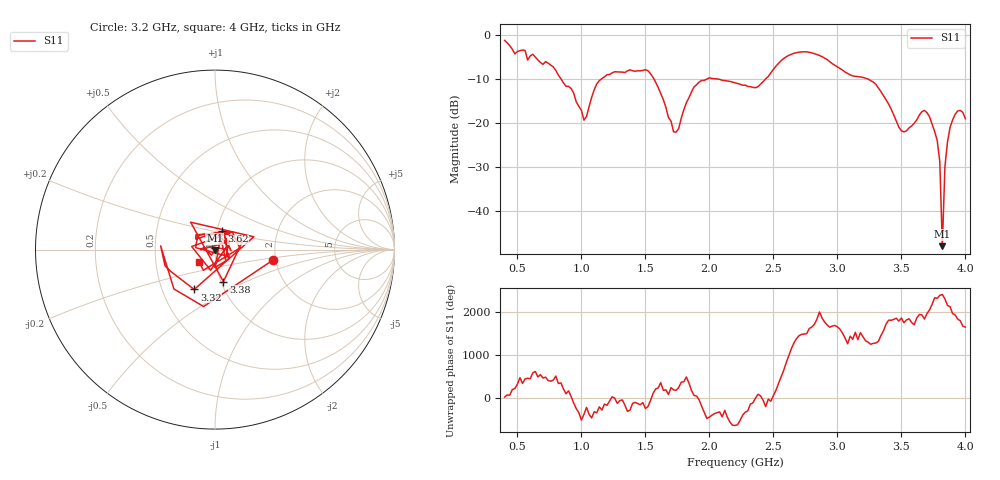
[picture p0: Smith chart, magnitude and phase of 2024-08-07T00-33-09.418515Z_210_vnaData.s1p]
!Created with skrf (http://scikit-rf.org).
# Hz S RI R 50.0
!freq ReS11 ImS11
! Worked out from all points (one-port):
!   181 points, 400 MHz to 4 GHz, reference 50 ohm
!   lowest |S11| = -48.1 dB at 3.82 GHz (marker M1), VSWR 1.01, Z = 49.9 - j0.382 ohm
!   |S11| at or under -10 dB: 1.567 GHz to 1.979 GHz (412 MHz wide, 23.2 % of centre); 2.068 GHz to 2.439 GHz (370.2 MHz wide, 16.4 % of centre); 3.241 GHz to end of sweep (the widest 3 of 4)
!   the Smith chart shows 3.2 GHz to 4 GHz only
!   S11 on the Smith chart (normalised r, x): 3.2 GHz: 1.94, -0.25; 3.32 GHz: 0.72, -0.34; 3.38 GHz: 1.03, -0.38; 3.62 GHz: 1.05, +0.22; 4 GHz: 0.83, -0.11
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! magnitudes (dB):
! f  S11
! 400 MHz  -1.2
! 740 MHz  -6.4
! 860 MHz  -10.9
! 1.02 GHz  -19.4
! 1.12 GHz  -11.1
! 1.3 GHz  -8.4
! 1.52 GHz  -8.1
! 1.72 GHz  -22.0
! 1.76 GHz  -21.3
! 1.92 GHz  -10.7
! 2.2 GHz  -10.8
! 2.38 GHz  -11.7
! 2.66 GHz  -4.1
! 3.1 GHz  -9.0
! 3.2 GHz  -9.6
! 3.32 GHz  -12.0
! 3.38 GHz  -14.7
! 3.5 GHz  -21.8
! 3.56 GHz  -21.1
! 3.62 GHz  -19.3
! 3.7 GHz  -17.7
! 3.78 GHz  -24.0
! 3.8 GHz  -28.8
! 3.82 GHz  -48.1
! 3.84 GHz  -30.0
! 3.88 GHz  -21.0
! 3.94 GHz  -17.3
! 4 GHz  -19.0
